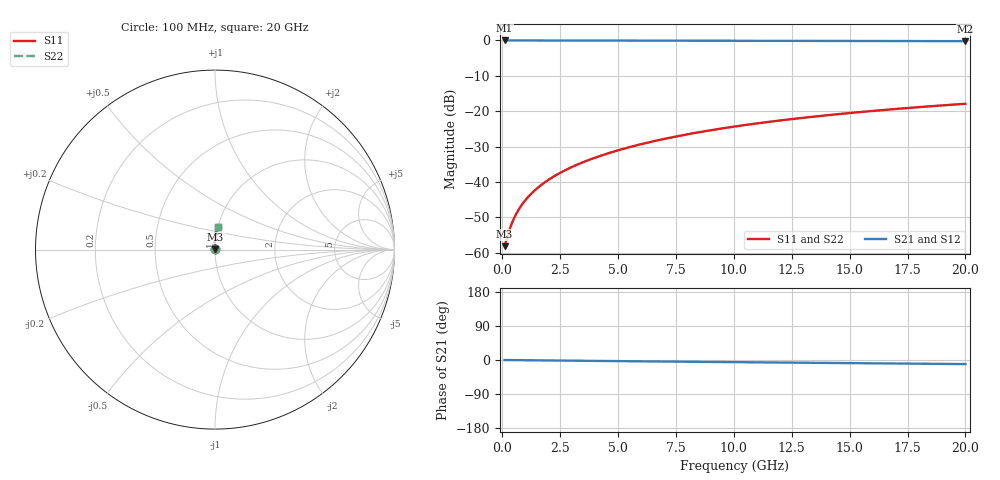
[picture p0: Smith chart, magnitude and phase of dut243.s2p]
! Touchstone file exported from HFSS 2024.1.0
!  File:  C:/UserFiles/LocalFiles/RDL_TSV_Batchsim/temp_RDL_bottom_243_1778701385.aedt
!  Generated:  03:45:57 AM May 14, 2026
!  Design:  RDL_bottom
!  Project:  temp_RDL_bottom_243_1778701385
!  Setup:  Setup1
!  Solution:  Sweep
! Variables:
!  dtsv = 10.80580581um
!  hbump = 3um
!  htsv = 86.1um
!  ldown = 104.46um
!  lrdl = 100um
!  p = 40
!  p1 = 57.49um
!  rhole = 1um
!  t = 450um
!  tdown = 2.09um
!  trdl = 3.915915916um
!  wdown = 29.03um
!  wrdl = 20um
# GHz S MA R 50.000000
! Terminal data exported
! Port[1] = RDL1_T1
! Port[2] = RDL1_T2
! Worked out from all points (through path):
!   200 points, 100 MHz to 20 GHz, reference 50 ohm
!   highest |S21| = -0.01 dB at 100 MHz (marker M1); lowest = -0.2 dB at 20 GHz (marker M2)
!   group delay of S21, straight-line fit = 1.47 ps
!   lowest |S11| = -58.1 dB at 100 MHz (marker M3), VSWR 1.00, Z = 50.1 + j0.0581 ohm
!   |S11| at or under -10 dB: start of sweep to end of sweep
!   |S22| runs from -58.1 to -17.9 dB; largest |S21 - S12| = 4.3e-15
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0.1  0.001239 27.9  0.9989 -0.1  0.9989 -0.1  0.001239 27.9
! Gamma 0 0 0 0
! Port Impedance 50 0 50 0
0.3  0.002059 56.2  0.9988 -0.2  0.9988 -0.2  0.002059 56.2
0.4  0.002544 62.5  0.9988 -0.3  0.9988 -0.3  0.002544 62.5
0.5  0.003039 66.7  0.9987 -0.3  0.9987 -0.3  0.003039 66.7
0.6  0.003537 69.8  0.9987 -0.4  0.9987 -0.4  0.003537 69.8
0.7  0.004037 72.2  0.9986 -0.4  0.9986 -0.4  0.004037 72.2
0.9  0.005043 75.8  0.9985 -0.6  0.9985 -0.6  0.005043 75.8
1.2  0.006571 79.4  0.9983 -0.7  0.9983 -0.7  0.006571 79.4
1.4  0.007604 81.2  0.9982 -0.9  0.9982 -0.9  0.007604 81.2
1.7  0.009174 83.2  0.998 -1.1  0.998 -1.1  0.009174 83.2
2.2  0.01184 85.6  0.9977 -1.4  0.9977 -1.4  0.01184 85.6
2.8  0.01514 87.5  0.9971 -1.7  0.9971 -1.7  0.01514 87.5
3.5  0.0191 89.0  0.9964 -2.1  0.9964 -2.1  0.0191 89.0
4.2  0.02319 90.0  0.9956 -2.5  0.9956 -2.5  0.02319 90.0
5  0.02802 90.7  0.9946 -3.0  0.9946 -3.0  0.02802 90.7
5.9  0.03362 91.1  0.9934 -3.5  0.9934 -3.5  0.03362 91.1
6.8  0.03937 91.2  0.9922 -4.0  0.9922 -4.0  0.03937 91.2
8.4  0.04985 90.9  0.9901 -4.8  0.9901 -4.8  0.04985 90.8
10.1  0.06121 90.1  0.9879 -5.7  0.9879 -5.7  0.06121 90.1
13.4  0.08347 88.1  0.9839 -7.4  0.9839 -7.4  0.08346 88.1
16.7  0.1056 85.9  0.98 -9.1  0.98 -9.1  0.1056 85.9
20  0.1274 83.7  0.9761 -10.7  0.9761 -10.7  0.1274 83.7
